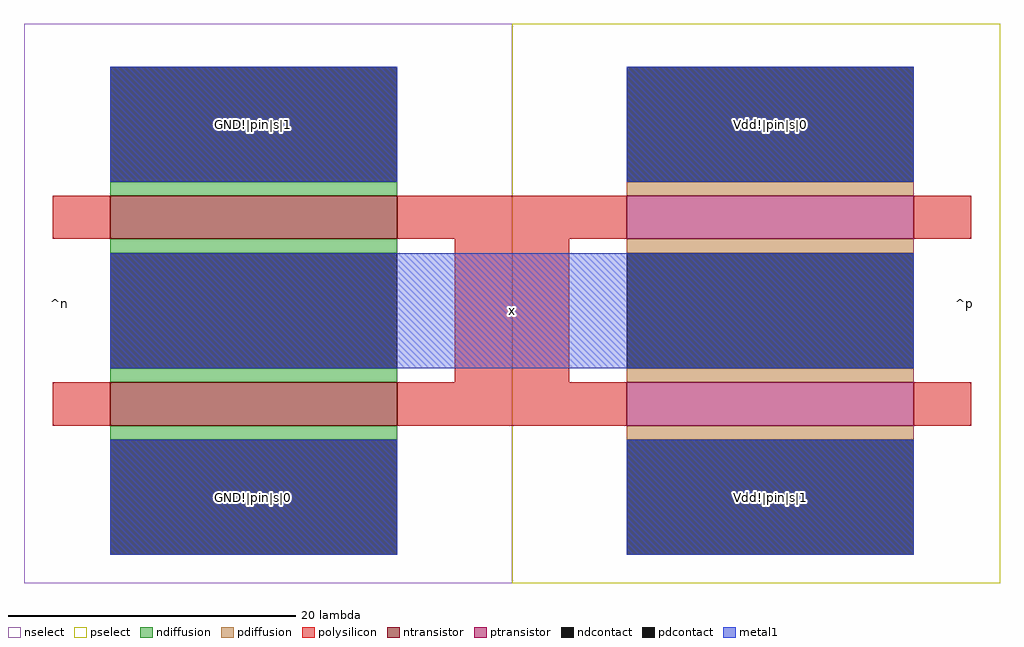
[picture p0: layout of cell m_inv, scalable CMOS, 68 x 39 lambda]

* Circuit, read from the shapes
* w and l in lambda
.subckt m_inv GND!|pin|s|0 GND!|pin|s|1 Vdd!|pin|s|0 Vdd!|pin|s|1 a|pin|w|3|poly x
M1 x a|pin|w|3|poly GND!|pin|s|0 VSUBS nfet w=20 l=3
M2 GND!|pin|s|1 a|pin|w|3|poly x VSUBS nfet w=20 l=3
M3 x a|pin|w|3|poly Vdd!|pin|s|1 NWELL pfet w=20 l=3
M4 Vdd!|pin|s|0 a|pin|w|3|poly x NWELL pfet w=20 l=3
.ends

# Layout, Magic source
magic
tech scmos
<< nselect >>
rect -34 532 0 571
<< pselect >>
rect 0 532 34 571
<< ndiffusion >>
rect -28 559 -8 560
rect -28 555 -8 556
rect -28 546 -8 547
rect -28 542 -8 543
<< pdiffusion >>
rect 8 559 28 560
rect 8 555 28 556
rect 8 546 28 547
rect 8 542 28 543
<< ntransistor >>
rect -28 556 -8 559
rect -28 543 -8 546
<< ptransistor >>
rect 8 556 28 559
rect 8 543 28 546
<< polysilicon >>
rect -32 556 -28 559
rect -8 556 8 559
rect 28 556 32 559
rect -4 546 4 556
rect -32 543 -28 546
rect -8 543 8 546
rect 28 543 32 546
<< ndcontact >>
rect -28 560 -8 568
rect -28 547 -8 555
rect -28 534 -8 542
<< pdcontact >>
rect 8 560 28 568
rect 8 547 28 555
rect 8 534 28 542
<< metal1 >>
rect -28 560 -8 568
rect 8 560 28 568
rect -28 547 28 555
rect -28 534 -8 542
rect 8 534 28 542
<< labels >>
rlabel metal1 -28 547 28 555 1 x
rlabel space -35 532 -28 571 7 ^n
rlabel space 28 532 35 571 3 ^p
rlabel metal1 -28 534 -8 542 1 GND!|pin|s|0
rlabel polysilicon -4 543 4 559 1 a|pin|w|3|poly
rlabel metal1 8 534 28 542 1 Vdd!|pin|s|1
rlabel metal1 -28 560 -8 568 1 GND!|pin|s|1
rlabel metal1 8 560 28 568 1 Vdd!|pin|s|0
<< end >>
